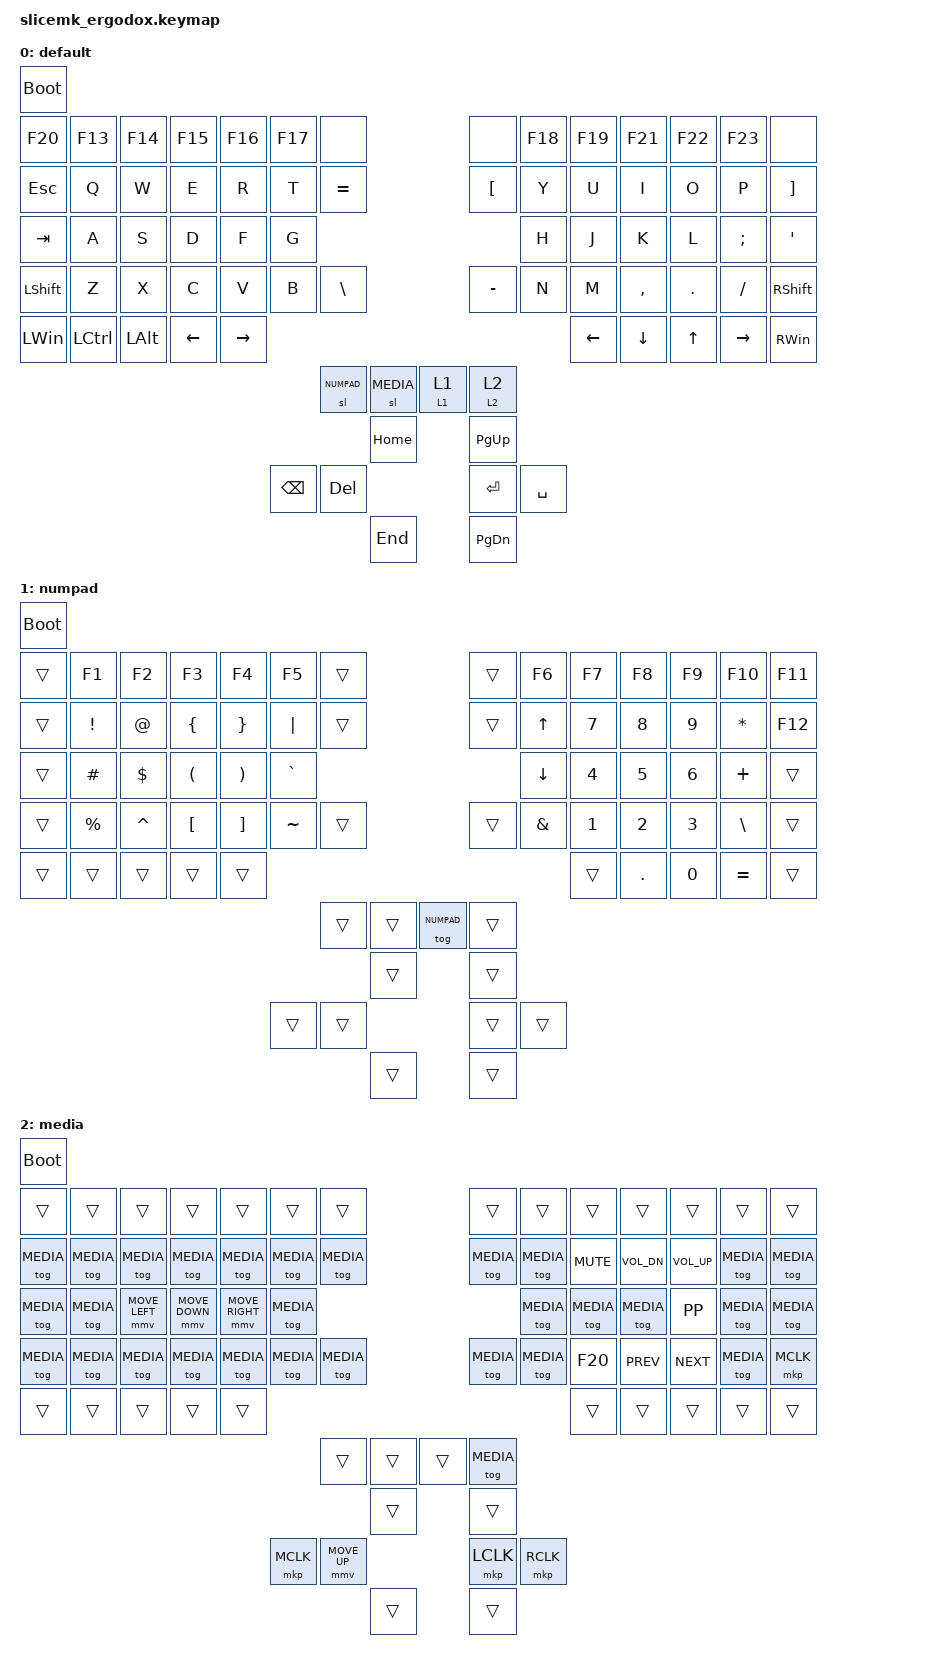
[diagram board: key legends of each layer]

#define DEFAULT 0
#define NUMPAD 1
#define MEDIA 2

#include <behaviors.dtsi>
#include <dt-bindings/zmk/bt.h>
#include <dt-bindings/zmk/keys.h>
#include <dt-bindings/zmk/outputs.h>
#include <dt-bindings/zmk/mouse.h>

&mmv {    time-to-max-speed-ms = <500>;};
/ {
behaviors {
ls:tap_layers{
  compatible = "zmk,behavior-hold-tap";
  label="tap_layers2";
  tapping-term-ms = <150>;
  #binding-cells = <2>;
  quick_tap_ms = <0>;
  flavor = "tap-preferred";
  bindings = <&mo>,<&tog>;
};
};

        keymap {
                compatible = "zmk,keymap";

                default {
                        bindings = <
    &bootloader
    &kp F20    &kp F13     &kp F14    &kp F15    &kp F16    &kp F17    &none                                         &none       &kp F18  &kp F19     &kp F21    &kp F22    &kp F23    &none
    &kp ESC    &kp Q       &kp W      &kp E      &kp R      &kp T      &kp EQUAL                                     &kp LBKT    &kp Y    &kp U       &kp I      &kp O      &kp P      &kp RBKT
    &kp TAB    &kp A       &kp S      &kp D      &kp F      &kp G                                                                &kp H    &kp J       &kp K      &kp L      &kp SCLN   &kp SINGLE_QUOTE
    &kp LSHFT  &kp Z       &kp X      &kp C      &kp V      &kp B      &kp BSLH                                      &kp MINUS   &kp N    &kp M       &kp CMMA   &kp DOT    &kp FSLH   &kp RSHFT
    &kp LWIN   &kp LCTRL   &kp LALT   &kp LEFT   &kp RIGHT                                                                                &kp LEFT    &kp DOWN   &kp UP     &kp RIGHT  &kp RWIN
                                                                       &sl NUMPAD &sl MEDIA                &ls 1 1   &ls 2 2
                                                                                  &kp HOME                     &kp PG_UP
                                                            &kp BSPC   &kp DEL                                       &kp RET     &kp SPACE
                                                                                  &kp END                      &kp PG_DN
                        >;
                };

                numpad {
                        bindings = <
    &bootloader
    &trans  &kp F1     &kp F2     &kp F3     &kp F4     &kp F5     &trans                         &trans   &kp F6     &kp F7     &kp F8     &kp F9     &kp F10    &kp F11
    &trans  &kp EXCL   &kp AT     &kp LBRC   &kp RBRC   &kp PIPE   &trans                         &trans   &kp UP     &kp NUM_7  &kp NUM_8  &kp NUM_9  &kp ASTRK  &kp F12
    &trans  &kp POUND  &kp DOLLAR &kp LPAR   &kp RPAR   &kp GRAVE                                          &kp DOWN   &kp NUM_4  &kp NUM_5  &kp NUM_6  &kp PLUS   &trans
    &trans  &kp PRCNT  &kp CARET  &kp LBKT   &kp RBKT   &kp TILDE  &trans                         &trans   &kp AMPS   &kp NUM_1  &kp NUM_2  &kp NUM_3  &kp BSLH   &trans    
    &trans  &trans     &trans     &trans     &trans                                                                   &trans     &kp DOT    &kp NUM_0  &kp EQUAL  &trans
                                                                   &trans &trans      &tog NUMPAD &trans
                                                                          &trans      &trans
                                                        &trans     &trans                         &trans   &trans
                                                                          &trans      &trans
                        >;
                };

                media {
                        bindings = <
    &bootloader
    &trans         &trans   &trans         &trans         &trans          &trans    &trans                           &trans    &trans  &trans     &trans       &trans       &trans       &trans
    &tog MEDIA         &tog MEDIA   &tog MEDIA         &tog MEDIA         &tog MEDIA          &tog MEDIA    &tog MEDIA                           &tog MEDIA    &tog MEDIA  &kp K_MUTE &kp K_VOL_DN &kp K_VOL_UP &tog MEDIA       &tog MEDIA
    &tog MEDIA         &tog MEDIA   &mmv MOVE_LEFT &mmv MOVE_DOWN &mmv MOVE_RIGHT &tog MEDIA                                               &tog MEDIA  &tog MEDIA     &tog MEDIA       &kp K_PP     &tog MEDIA       &tog MEDIA
    &tog MEDIA         &tog MEDIA   &tog MEDIA         &tog MEDIA         &tog MEDIA          &tog MEDIA    &tog MEDIA                           &tog MEDIA    &tog MEDIA  &kp F20    &kp K_PREV   &kp K_NEXT   &tog MEDIA       &mkp MCLK
    &trans         &trans   &trans         &trans         &trans                                                                       &trans     &trans       &trans       &trans       &trans
                                                                                    &trans        &trans     &trans  &tog MEDIA
                                                                                                  &trans     &trans
                                                                          &mkp MCLK &mmv MOVE_UP                    &mkp LCLK &mkp RCLK
                                                                                                 &trans      &trans
                        >;
                };


        };
};
